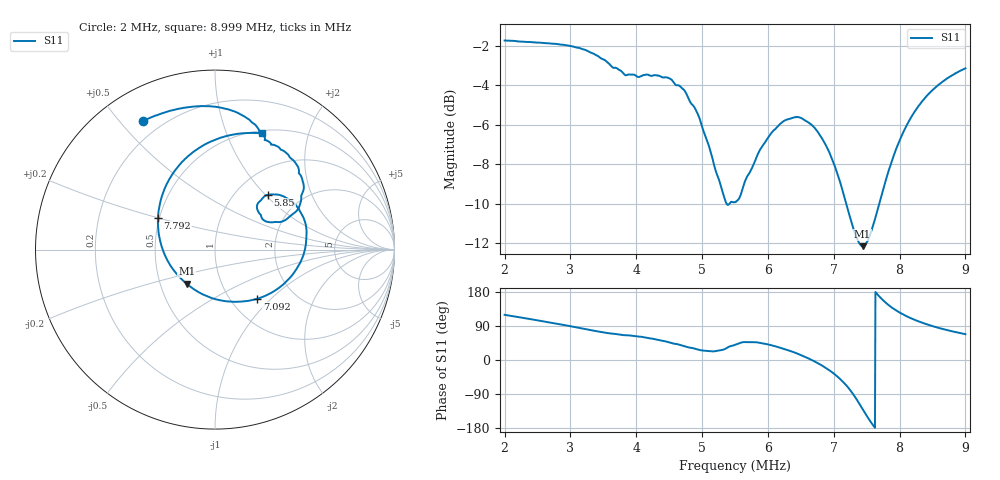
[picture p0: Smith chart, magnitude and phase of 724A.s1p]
# Hz S RI R 50
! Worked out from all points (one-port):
!   1010 points, 2 MHz to 8.999 MHz, reference 50 ohm
!   lowest |S11| = -12.1 dB at 7.439 MHz (marker M1), VSWR 1.66, Z = 34.1 - j13.8 ohm
!   |S11| at or under -10 dB: 5.375 MHz to 5.413 MHz (38.13 kHz wide, 0.707 % of centre); 7.19 MHz to 7.69 MHz (500.6 kHz wide, 6.73 % of centre)
!   S11 on the Smith chart (normalised r, x): 2 MHz: 0.13, +0.58; 5.85 MHz: 1.39, +1.03; 7.092 MHz: 1.32, -0.83; 7.792 MHz: 0.49, +0.20; 8.999 MHz: 0.53, +1.34
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2000000  -0.4001 0.716
2499400  -0.2061 0.7838
2880937  -0.0426 0.7991
3408174  0.1856 0.7276
3754974  0.2709 0.6331
4282211  0.3847 0.5487
4629111  0.4726 0.4194
4747011  0.4949 0.3519
4920448  0.4749 0.2571
5149348  0.3846 0.1608
5364348  0.2741 0.1618
5503185  0.2438 0.2073
5614085  0.2362 0.2516
5849985  0.2945 0.3057
6120485  0.3983 0.2875
6377222  0.4858 0.1924
6543722  0.51 0.0867
6744822  0.4804 -0.0605
6925259  0.3859 -0.1893
7091659  0.2352 -0.2743
7251259  0.0513 -0.2865
7438559  -0.1575 -0.1905
7611996  -0.2832 -0.0215
7792296  -0.3173 0.1786
8125296  -0.2057 0.4628
8312633  -0.1014 0.5574
8513833  0.0138 0.6169
8999433  0.2596 0.6473
